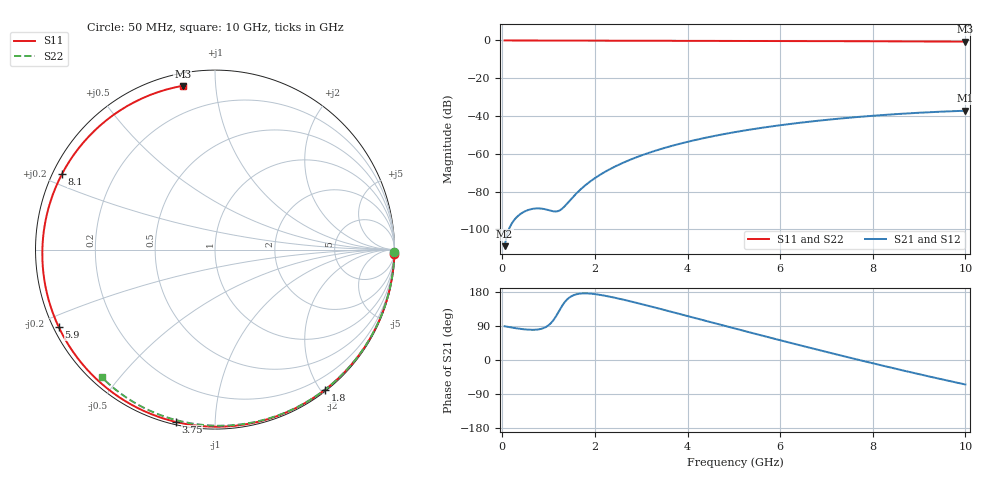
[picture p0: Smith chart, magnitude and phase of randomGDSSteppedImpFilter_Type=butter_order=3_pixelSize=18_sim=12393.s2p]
! freq	dB(S11)	phase(S11)	dB(S12)	phase(S12)
!  dB(S21)	phase(S21)	dB(S22)	phase(S22)
!S-par simulation data
#  GHz  S  DB  R 50
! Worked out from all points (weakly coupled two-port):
!   200 points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, 50 MHz to 10 GHz, reference 50 ohm
!   highest |S21| = -37.20 dB at 10 GHz (marker M1); lowest = -108.9 dB at 50 MHz (marker M2)
!   lowest |S11| = -0.6 dB at 10 GHz (marker M3), VSWR 27.53, Z = 3.04 + j41 ohm
!   |S11| at or under -10 dB: nowhere
!   |S22| runs from -0.4 to 0.0 dB; largest |S21 - S12| = 0
!   S11 on the Smith chart (normalised r, x): 50 MHz: 0, -77; 1.8 GHz: 0.02, -2.05; 3.75 GHz: 0.01, -0.80; 5.9 GHz: 0.02, -0.23; 8.1 GHz: 0.03, +0.23; 10 GHz: 0.06, +0.82
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0.05  -0.00 -1.5  -108.92 89.0  -108.92 89.0  -0.00 -0.8
0.4  -0.02 -11.8  -91.74 82.0  -91.74 82.0  -0.01 -6.1
0.8  -0.03 -23.5  -88.94 81.1  -88.94 81.1  -0.02 -12.1
1.6  -0.06 -46.4  -81.00 173.4  -81.00 173.4  -0.03 -24.0
1.65  -0.06 -47.8  -79.79 174.7  -79.79 174.7  -0.03 -24.7
1.75  -0.06 -50.6  -77.56 175.8  -77.56 175.8  -0.03 -26.2
1.8  -0.07 -51.9  -76.54 175.8  -76.54 175.8  -0.03 -26.9
2.1  -0.08 -60.2  -71.29 172.1  -71.29 172.1  -0.04 -31.3
2.45  -0.09 -69.6  -66.57 163.8  -66.57 163.8  -0.05 -36.4
2.9  -0.10 -81.4  -61.82 150.8  -61.82 150.8  -0.06 -42.8
3.4  -0.12 -94.1  -57.66 135.2  -57.66 135.2  -0.07 -49.9
3.75  -0.13 -102.8  -55.23 124.0  -55.23 124.0  -0.07 -54.7
4.4  -0.16 -118.6  -51.46 103.1  -51.46 103.1  -0.09 -63.6
5.05  -0.20 -133.9  -48.41 82.2  -48.41 82.2  -0.11 -72.2
5.9  -0.25 -153.6  -45.22 55.3  -45.22 55.3  -0.14 -83.1
6.7  -0.31 -172.2  -42.82 30.4  -42.82 30.4  -0.18 -93.0
7.4  -0.37 171.1  -41.10 9.2  -41.10 9.2  -0.22 -101.5
8.1  -0.44 153.7  -39.69 -11.6  -39.69 -11.6  -0.27 -109.7
8.35  -0.46 147.2  -39.26 -18.9  -39.26 -18.9  -0.29 -112.6
8.8  -0.51 135.3  -38.56 -31.8  -38.56 -31.8  -0.32 -117.8
9.25  -0.55 122.9  -37.97 -44.4  -37.97 -44.4  -0.36 -123.0
10  -0.63 101.1  -37.20 -64.6  -37.20 -64.6  -0.44 -131.5
